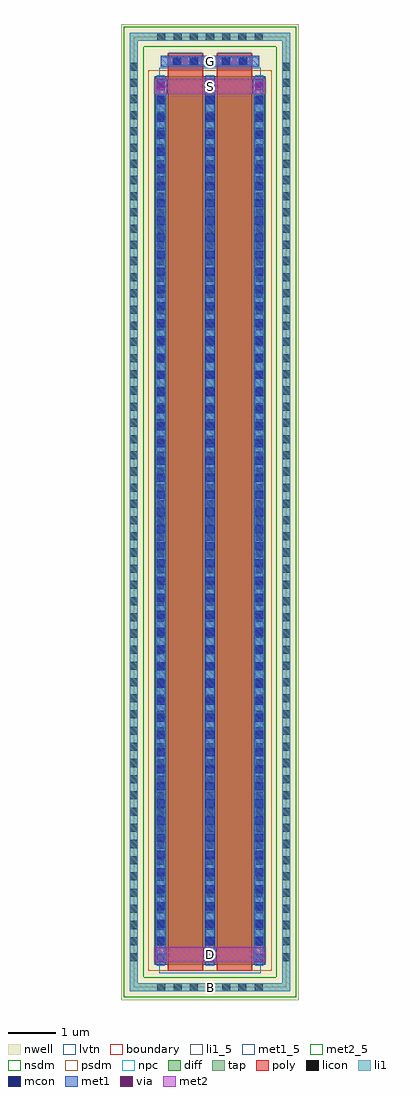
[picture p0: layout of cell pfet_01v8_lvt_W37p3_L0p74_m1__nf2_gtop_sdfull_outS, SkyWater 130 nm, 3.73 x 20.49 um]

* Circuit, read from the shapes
.subckt pfet_01v8_lvt_W37p3_L0p74_m1__nf2_gtop_sdfull_outS B D G S
XM1 D G S B sky130_fd_pr__pfet_01v8_lvt w=18.65 l=0.74 m=2
.ends

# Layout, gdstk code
import gdstk
lib = gdstk.Library(unit=1e-6, precision=1e-09)
def R(c, l, rs):  # rectangles x0, y0, x1, y1
    for r in rs: c.add(gdstk.rectangle(r[:2], r[2:], *l))
def A(c, l, x, y, w, h, nx, ny, dx, dy):  # array of equal rectangles
    R(c, l, [(x+i*dx, y+j*dy, x+i*dx+w, y+j*dy+h) for i in range(nx) for j in range(ny)])
nwell = (64, 20)
diff = (65, 20)
tap = (65, 44)
poly = (66, 20)
licon = (66, 44)
li1_5 = (67, 5)
li1 = (67, 20)
mcon = (67, 44)
met1_5 = (68, 5)
met1 = (68, 20)
via = (68, 44)
met2_5 = (69, 5)
met2 = (69, 20)
nsdm = (93, 44)
psdm = (94, 20)
npc = (95, 20)
lvtn = (125, 44)
boundary = (235, 4)

sky130_fd_pr__pfet_01v8_ = lib.new_cell('sky130_fd_pr__pfet_01v8_lvt_R4MRQR')
R(sky130_fd_pr__pfet_01v8_, nwell, [(-1.865,-10.245,1.865,10.245)])
R(sky130_fd_pr__pfet_01v8_, diff, [(-1.175,-9.505,1.175,9.145)])
R(sky130_fd_pr__pfet_01v8_, tap, [(-1.685,-10.065,1.685,-9.895), (-1.685,-9.895,-1.515,9.895), (1.515,-9.895,1.685,9.895), (-1.685,9.895,1.685,10.065)])
R(sky130_fd_pr__pfet_01v8_, poly, [(-0.885,-9.635,-0.145,9.63), (0.145,-9.635,0.885,9.63)])
A(sky130_fd_pr__pfet_01v8_, licon, -1.105, -10.065, 0.17, 0.17, 7, 2, 0.34, 19.96)
A(sky130_fd_pr__pfet_01v8_, licon, -1.115, -9.445, 0.17, 0.17, 3, 55, 1.03, 0.34)
A(sky130_fd_pr__pfet_01v8_, licon, -1.685, -9.435, 0.17, 0.17, 1, 56, 0, 0.34)
A(sky130_fd_pr__pfet_01v8_, licon, 1.515, -9.435, 0.17, 0.17, 1, 56, 0, 0.34)
R(sky130_fd_pr__pfet_01v8_, licon, [(-0.77,9.38,-0.6,9.55), (-0.43,9.38,-0.26,9.55), (0.26,9.38,0.43,9.55), (0.6,9.38,0.77,9.55)])
A(sky130_fd_pr__pfet_01v8_, li1, -1.115, -9.525, 0.17, 18.69, 3, 1, 1.03, 0)
R(sky130_fd_pr__pfet_01v8_, li1, [(-1.685,-10.065,1.685,-9.895), (-1.685,-9.895,-1.515,9.895), (1.515,-9.895,1.685,9.895), (-1.03,9.38,1.03,9.55), (-1.685,9.895,1.685,10.065)])
A(sky130_fd_pr__pfet_01v8_, mcon, -1.115, -9.445, 0.17, 0.17, 3, 52, 1.03, 0.36)
R(sky130_fd_pr__pfet_01v8_, mcon, [(-0.78,9.38,-0.61,9.55), (-0.42,9.38,-0.25,9.55), (0.25,9.38,0.42,9.55), (0.61,9.38,0.78,9.55)])
A(sky130_fd_pr__pfet_01v8_, met1, -1.145, -9.505, 0.23, 18.65, 3, 1, 1.03, 0)
R(sky130_fd_pr__pfet_01v8_, met1, [(-0.865,9.35,-0.165,9.38), (0.165,9.35,0.865,9.38), (-1.03,9.38,1.03,9.55), (-0.865,9.55,-0.165,9.58), (0.165,9.55,0.865,9.58)])
R(sky130_fd_pr__pfet_01v8_, nsdm, [(-1.81,-10.19,1.81,-9.77), (-1.81,-9.77,-1.39,9.77), (1.39,-9.77,1.81,9.77), (-1.81,9.77,1.81,10.19)])
R(sky130_fd_pr__pfet_01v8_, psdm, [(-1.3,-9.63,1.3,9.27)])
R(sky130_fd_pr__pfet_01v8_, npc, [(-0.87,9.28,-0.16,9.65), (0.16,9.28,0.87,9.65)])
R(sky130_fd_pr__pfet_01v8_, lvtn, [(-1.065,-9.685,1.065,9.325)])
R(sky130_fd_pr__pfet_01v8_, boundary, [(-1.6,-9.98,1.6,9.98)])
sky130_fd_pr__pfet_01v8_.add(gdstk.Label('B', (0,-9.98), layer=67, texttype=5))
sky130_fd_pr__pfet_01v8_.add(gdstk.Label('D0', (-1.03,-0.18), layer=67, texttype=5))
sky130_fd_pr__pfet_01v8_.add(gdstk.Label('G', (0.515,9.465), layer=67, texttype=5))
sky130_fd_pr__pfet_01v8_.add(gdstk.Label('G', (-0.515,9.465), layer=67, texttype=5))
sky130_fd_pr__pfet_01v8_.add(gdstk.Label('S1', (0,-0.18), layer=67, texttype=5))

pfet_01v8_lvt_w37p3_l0p7 = lib.new_cell('pfet_01v8_lvt_W37p3_L0p74_m1__nf2_gtop_sdfull_outS')
R(pfet_01v8_lvt_w37p3_l0p7, li1_5, [(1.515,-0.085,1.685,0.085)])
R(pfet_01v8_lvt_w37p3_l0p7, li1, [(1.515,-0.085,1.685,0.085)])
R(pfet_01v8_lvt_w37p3_l0p7, met1_5, [(0.57,19.33,2.63,19.56)])
R(pfet_01v8_lvt_w37p3_l0p7, met1, [(1.47,0.525,1.73,0.845), (0.44,18.755,0.7,19.075), (2.5,18.755,2.76,19.075), (0.57,19.33,2.63,19.56)])
R(pfet_01v8_lvt_w37p3_l0p7, via, [(1.525,0.61,1.675,0.76), (0.495,18.84,0.645,18.99), (2.555,18.84,2.705,18.99)])
R(pfet_01v8_lvt_w37p3_l0p7, met2_5, [(0.435,0.525,2.765,0.845), (0.435,18.755,2.765,19.075)])
R(pfet_01v8_lvt_w37p3_l0p7, met2, [(0.435,0.525,2.765,0.845), (0.435,18.755,2.765,19.075)])
pfet_01v8_lvt_w37p3_l0p7.add(gdstk.Reference(sky130_fd_pr__pfet_01v8_, (1.6,9.98)))
pfet_01v8_lvt_w37p3_l0p7.add(gdstk.Label('S', (1.6,18.915), layer=69, texttype=5))
pfet_01v8_lvt_w37p3_l0p7.add(gdstk.Label('D', (1.6,0.685), layer=69, texttype=5))
pfet_01v8_lvt_w37p3_l0p7.add(gdstk.Label('G', (1.6,19.445), layer=68, texttype=5))
pfet_01v8_lvt_w37p3_l0p7.add(gdstk.Label('B', (1.6,0), layer=67, texttype=5))

lib.write_gds('pfet_01v8_lvt_W37p3_L0p74_m1__nf2_gtop_sdfull_outS.gds')
